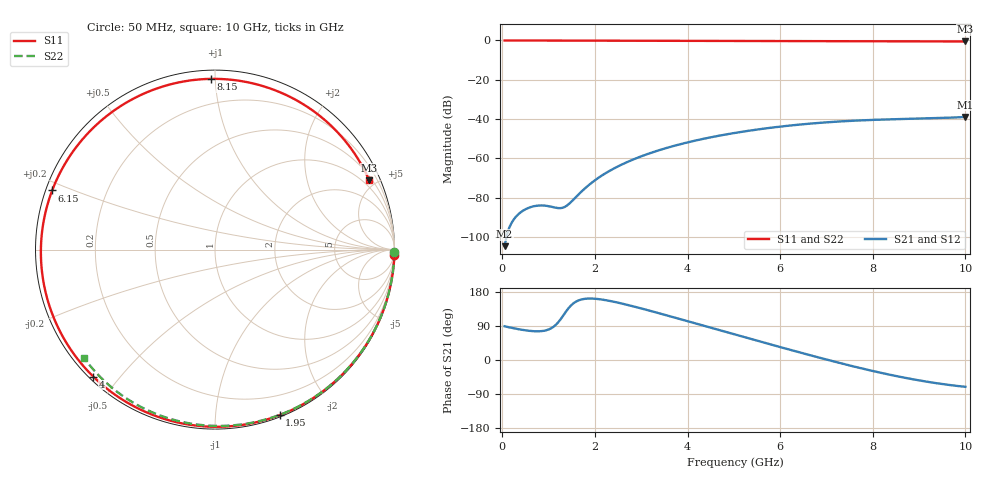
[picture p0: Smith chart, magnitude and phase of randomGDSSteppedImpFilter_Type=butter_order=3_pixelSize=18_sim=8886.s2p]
! freq	dB(S11)	phase(S11)	dB(S12)	phase(S12)
!  dB(S21)	phase(S21)	dB(S22)	phase(S22)
!S-par simulation data
#  GHz  S  DB  R 50
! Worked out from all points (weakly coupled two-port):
!   200 points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, 50 MHz to 10 GHz, reference 50 ohm
!   highest |S21| = -38.98 dB at 10 GHz (marker M1); lowest = -104.7 dB at 50 MHz (marker M2)
!   lowest |S11| = -0.5 dB at 10 GHz (marker M3), VSWR 33.36, Z = 33.5 + j229 ohm
!   |S11| at or under -10 dB: nowhere
!   |S22| runs from -0.5 to 0.0 dB; largest |S21 - S12| = 0
!   S11 on the Smith chart (normalised r, x): 50 MHz: 0, -62; 1.95 GHz: 0.02, -1.46; 4 GHz: 0.01, -0.43; 6.15 GHz: 0.02, +0.18; 8.15 GHz: 0.05, +0.97; 10 GHz: 0.67, +4.57
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0.05  -0.00 -1.8  -104.75 89.0  -104.75 89.0  -0.00 -0.8
0.75  -0.04 -27.1  -84.15 75.7  -84.15 75.7  -0.02 -12.2
1.55  -0.07 -55.1  -80.73 150.8  -80.73 150.8  -0.03 -25.0
1.6  -0.07 -56.8  -79.52 154.6  -79.52 154.6  -0.03 -25.7
1.75  -0.08 -61.9  -76.06 160.8  -76.06 160.8  -0.04 -28.1
1.95  -0.09 -68.7  -72.09 162.0  -72.09 162.0  -0.04 -31.3
2.25  -0.10 -78.7  -67.32 157.5  -67.32 157.5  -0.05 -35.9
2.6  -0.11 -90.1  -62.96 148.5  -62.96 148.5  -0.05 -41.3
3.4  -0.15 -115.3  -55.78 122.9  -55.78 122.9  -0.07 -53.4
4  -0.17 -133.7  -51.91 102.4  -51.91 102.4  -0.09 -62.3
4.55  -0.20 -150.4  -49.09 83.5  -49.09 83.5  -0.10 -70.2
5.05  -0.23 -165.7  -46.97 66.3  -46.97 66.3  -0.12 -77.2
5.6  -0.27 177.4  -45.05 47.6  -45.05 47.6  -0.14 -84.7
6.15  -0.31 160.0  -43.48 29.1  -43.48 29.1  -0.16 -92.1
6.7  -0.35 142.1  -42.24 10.9  -42.24 10.9  -0.19 -99.3
7.45  -0.39 116.5  -41.03 -12.9  -41.03 -12.9  -0.24 -108.9
8.15  -0.43 91.5  -40.33 -33.1  -40.33 -33.1  -0.29 -117.7
8.35  -0.44 84.2  -40.18 -38.4  -40.18 -38.4  -0.31 -120.2
8.7  -0.45 71.3  -39.96 -47.1  -39.96 -47.1  -0.34 -124.5
9.1  -0.47 56.6  -39.72 -55.9  -39.72 -55.9  -0.38 -129.4
9.55  -0.49 40.2  -39.41 -64.2  -39.41 -64.2  -0.42 -135.0
10  -0.52 24.2  -38.98 -70.8  -38.98 -70.8  -0.48 -140.5
